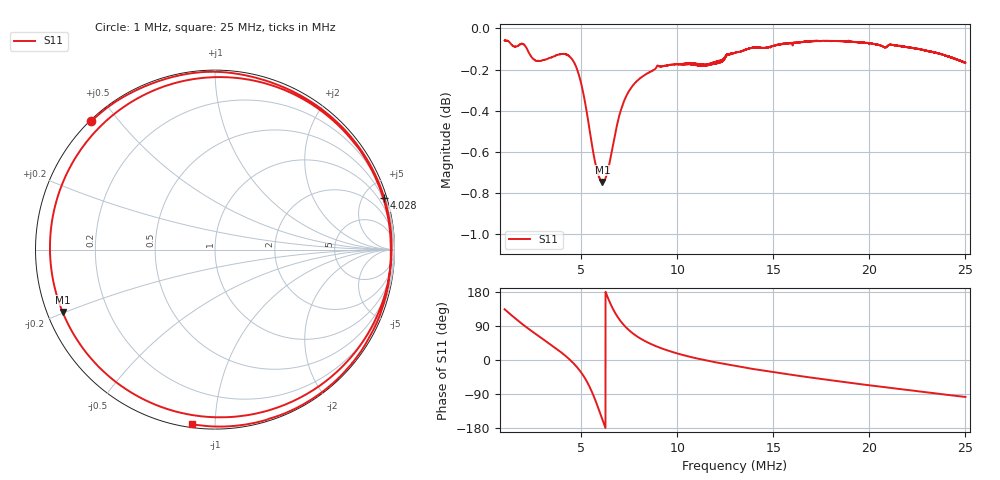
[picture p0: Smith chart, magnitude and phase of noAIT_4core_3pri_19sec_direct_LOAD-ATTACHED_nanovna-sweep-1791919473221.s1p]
! NanoVNA Web complex sweep
! Processing: unaveraged complex samples; linear segment spacing; no smoothing
# Hz S RI R 50
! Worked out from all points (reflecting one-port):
!   5050 points, 1 MHz to 25 MHz, reference 50 ohm
!   lowest |S11| = -0.7 dB at 6.095 MHz (marker M1), VSWR 23.28, Z = 2.23 - j9.84 ohm
!   phase of S11 starts at 134 deg and turns -591 deg over the sweep
!   S11 on the Smith chart (normalised r, x): 1 MHz: 0.00, +0.43; 4.028 MHz: 0.33, +6.72; 25 MHz: 0.02, -0.88
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1000000  -0.6882 0.7162
1703444  -0.2324 0.9627
2349852  0.197 0.9651
3176874  0.6498 0.7375
4003896  0.9384 0.3019
4027661  0.9434 0.2862
4498208  0.9806 -0.0706
4878448  0.8784 -0.4207
5196899  0.6275 -0.7253
5491585  0.1987 -0.9193
5643681  -0.0925 -0.9268
5786271  -0.3794 -0.8433
5928861  -0.6392 -0.6616
6095216  -0.849 -0.3482
6313854  -0.9131 0.1216
6570516  -0.7372 0.5717
6774895  -0.5098 0.7939
7003039  -0.2488 0.9204
7554387  0.2455 0.9351
8181783  0.5797 0.782
8989793  0.809 0.5521
1.000218e7  0.9366 0.2892
1.123796e7  0.9787 0.0287
1.300132e7  0.9504 -0.2641
1.600047e7  0.7641 -0.6303
1.899961e7  0.4925 -0.8619
2.199875e7  0.1813 -0.9728
2.49979e7  -0.1286 -0.9725
